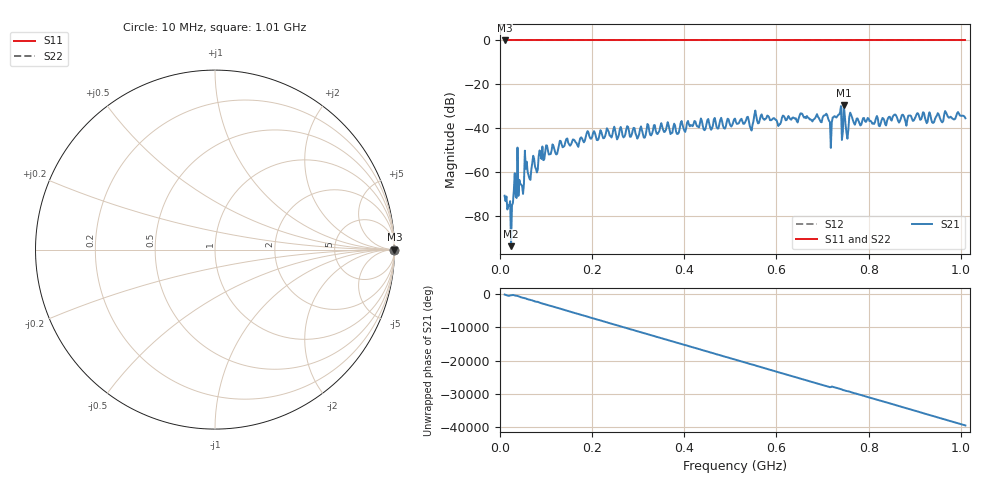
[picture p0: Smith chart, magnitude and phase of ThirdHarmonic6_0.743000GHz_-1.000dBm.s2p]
! 8/16/2025 12:52:14 AM
! C:\ANRITSUVNA\TEMP\TEMP.S2P
! CHANNEL.1
! TR.MEASUREMENT
! RAW.DATA
! RF.CORRECTION.OFF
! AVERAGING.OFF
! IF.BANDWIDTH: 5KHZ
! SWEEPTYPE:  FREQ.SWEEP(Linear)
! Reference Plane Port Info
! PORT:  PORT1  PORT2
! DISTANCE:  0  m  0  m
! TIME:  0  s  0  s
! PHASE.OFFSET:  0  deg.  0  deg.
! LOSS:  0  dB  0  dB
! REF.LOSS:  0  dB  0  dB
! REF.FREQ:  0  Hz  0  Hz
! Power Info
! POWER:  -20  dBm  -20  dBm
! EFF.POWER:  -20  dBm  -20  dBm
! SOURCE.ATTEN:  0  dB  0  dB
! TEST.ATTEN:  0  dB  0  dB
# GHZ S RI R 50.0
! FREQ.GHZ  S11RE  S11IM  S21RE  S21IM  S12RE  S12IM  S22RE  S22IM
!; PortSelection: Port_12
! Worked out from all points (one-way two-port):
!   501 points, 10 MHz to 1.01 GHz, reference 50 ohm
!   highest |S21| = -29.47 dB at 746 MHz (marker M1); lowest = -93.6 dB at 24 MHz (marker M2)
!   lowest |S11| = 0.0 dB at 10 MHz (marker M3)
!   |S11| at or under -10 dB: nowhere
!   |S22| runs from 0.0 to 0.0 dB; largest |S21 - S12| = 1
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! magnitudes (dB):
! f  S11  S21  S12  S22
! 10 MHz  0.0  -70.6  0.0  0.0
! 24 MHz  0.0  -93.6  0.0  0.0
! 32 MHz  0.0  -60.4  0.0  0.0
! 34 MHz  0.0  -70.9  0.0  0.0
! 48 MHz  0.0  -66.2  0.0  0.0
! 58 MHz  0.0  -55.1  0.0  0.0
! 64 MHz  0.0  -62.9  0.0  0.0
! 80 MHz  0.0  -60.0  0.0  0.0
! 88 MHz  0.0  -52.3  0.0  0.0
! 178 MHz  0.0  -44.5  0.0  0.0
! 344 MHz  0.0  -41.9  0.0  0.0
! 510 MHz  0.0  -35.5  0.0  0.0
! 678 MHz  0.0  -36.8  0.0  0.0
! 706 MHz  0.0  -33.9  0.0  0.0
! 718 MHz  0.0  -48.9  0.0  0.0
! 736 MHz  0.0  -33.6  0.0  0.0
! 746 MHz  0.0  -29.5  0.0  0.0
! 754 MHz  0.0  -44.7  0.0  0.0
! 762 MHz  0.0  -33.8  0.0  0.0
! 782 MHz  0.0  -38.7  0.0  0.0
! 844 MHz  0.0  -34.8  0.0  0.0
! 1.01 GHz  0.0  -35.4  0.0  0.0
